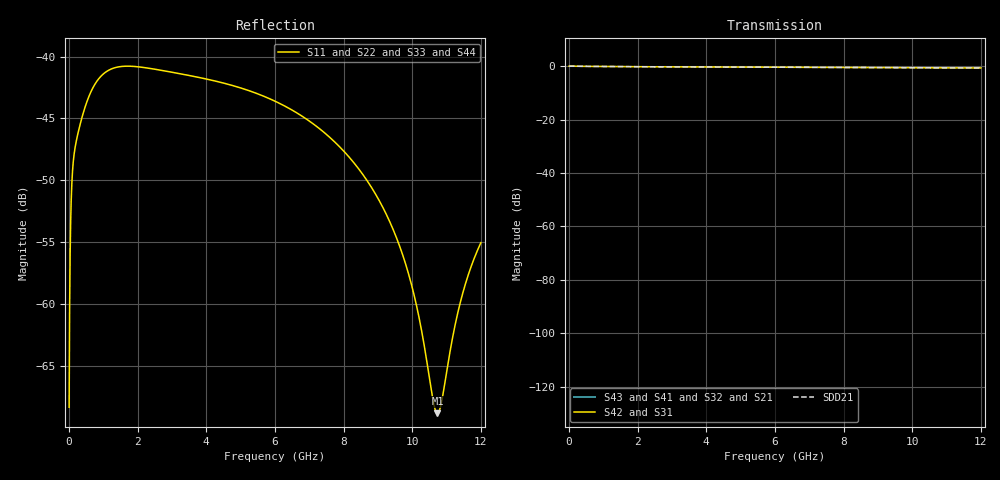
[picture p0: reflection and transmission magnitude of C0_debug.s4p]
! SYNTHETIC PCB; not extracted/measured; no fixture or crosstalk.
! Port 1=TX+, 2=TX-, 3=RX+, 4=RX-. Differential reference 100 ohm.
# Hz S RI R 50
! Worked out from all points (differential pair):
!   2400 points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, 5 MHz to 12 GHz, reference 50 ohm
!   strongest paths, dB at 5 MHz, 3.005 GHz, 6.005 GHz, 9.005 GHz, 12 GHz:
!     S42: 0.0, -0.3, -0.4, -0.5, -0.7
!     S31: 0.0, -0.3, -0.4, -0.5, -0.7
!     S43: -, -, -, -, -
!     S41: -, -, -, -, -
!     S32: -, -, -, -, -
!     S21: -, -, -, -, -
!   taken as a pair (ports 2,1 in; 4,3 out), SDD21 dB: 0.0, -0.3, -0.4, -0.5, -0.7
!   lowest |S11| = -68.8 dB at 10.73 GHz (marker M1), VSWR 1.00, Z = 50 - j0.0181 ohm
!   |S11| at or under -10 dB: start of sweep to end of sweep
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5000000  0.000311 0.000223  0 0  0.9997 -0.0018  0 0
         0 0  0.000311 0.000223  0 0  0.9997 -0.0018
         0.9997 -0.0018  0 0  0.000311 0.000223  0 0
         0 0  0.9997 -0.0018  0 0  0.000311 0.000223
1.4e8  0.00304 0.00247  0 0  0.9953 -0.046  0 0
       0 0  0.00304 0.00247  0 0  0.9953 -0.046
       0.9953 -0.046  0 0  0.00304 0.00247  0 0
       0 0  0.9953 -0.046  0 0  0.00304 0.00247
6.7e8  0.00709 0.00193  0 0  0.9683 -0.2041  0 0
       0 0  0.00709 0.00193  0 0  0.9683 -0.2041
       0.9683 -0.2041  0 0  0.00709 0.00193  0 0
       0 0  0.9683 -0.2041  0 0  0.00709 0.00193
3.73e9  0.00184 -0.00806  0 0  0.4323 -0.8655  0 0
        0 0  0.00184 -0.00806  0 0  0.4323 -0.8655
        0.4323 -0.8655  0 0  0.00184 -0.00806  0 0
        0 0  0.4323 -0.8655  0 0  0.00184 -0.00806
8.555e9  -0.00333 0.000271  0 0  -0.7614 -0.5553  0 0
         0 0  -0.00333 0.000271  0 0  -0.7614 -0.5553
         -0.7614 -0.5553  0 0  -0.00333 0.000271  0 0
         0 0  -0.7614 -0.5553  0 0  -0.00333 0.000271
1.0735e10  -0.000313 -0.000181  0 0  -0.9317 -0.000364  0 0
           0 0  -0.000313 -0.000181  0 0  -0.9317 -0.000364
           -0.9317 -0.000364  0 0  -0.000313 -0.000181  0 0
           0 0  -0.9317 -0.000364  0 0  -0.000313 -0.000181
1.2e10  -0.000295 -0.00174  0 0  -0.8652 0.3297  0 0
        0 0  -0.000295 -0.00174  0 0  -0.8652 0.3297
        -0.8652 0.3297  0 0  -0.000295 -0.00174  0 0
        0 0  -0.8652 0.3297  0 0  -0.000295 -0.00174
